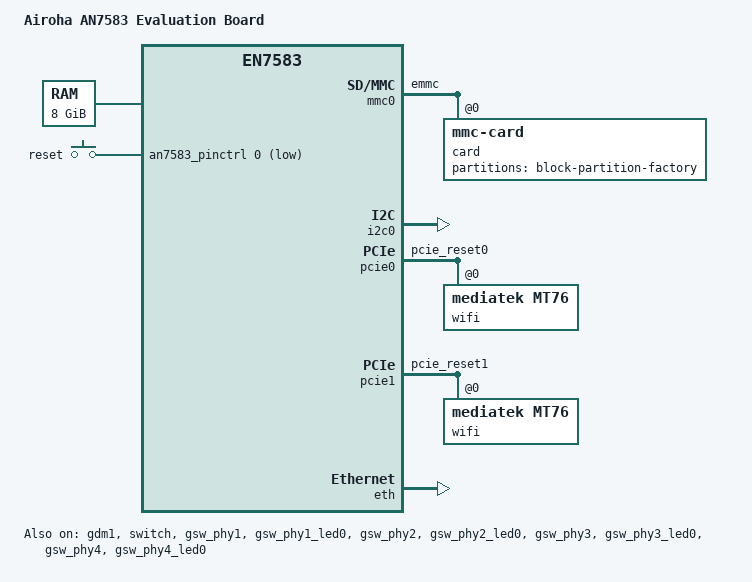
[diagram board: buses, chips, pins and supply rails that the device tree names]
// SPDX-License-Identifier: (GPL-2.0-only OR BSD-2-Clause)
/dts-v1/;

/* Bootloader installs ATF here */
/memreserve/ 0x80000000 0x200000;

#include <dt-bindings/leds/common.h>
#include <dt-bindings/gpio/gpio.h>
#include <dt-bindings/input/input.h>
#include "an7583.dtsi"

/ {
	model = "Airoha AN7583 Evaluation Board";
	compatible = "airoha,an7583-evb", "airoha,an7583", "airoha,en7583";

	aliases {
		serial0 = &uart1;
	};

	chosen {
		bootargs = "console=ttyS0,115200 earlycon";
		stdout-path = "serial0:115200n8";
		linux,usable-memory-range = <0x0 0x80200000 0x0 0x1fe00000>;
	};

	memory@80000000 {
		device_type = "memory";
		reg = <0x0 0x80000000 0x2 0x00000000>;
	};

	gpio-keys-polled {
		compatible = "gpio-keys-polled";
		poll-interval = <100>;

		btn-reset {
			label = "reset";
			linux,code = <BTN_0>;
			gpios = <&an7583_pinctrl 0 GPIO_ACTIVE_LOW>;
		};
	};
};

&an7583_pinctrl {
	gpio-ranges = <&an7583_pinctrl 0 13 47>;

	mdio_pins: mdio-pins {
		mux {
			function = "mdio";
			groups = "mdio";
		};
	};

	pcie0_rst_pins: pcie0-rst-pins {
		conf {
			pins = "pcie_reset0";
			drive-open-drain = <1>;
		};
	};

	pcie1_rst_pins: pcie1-rst-pins {
		conf {
			pins = "pcie_reset1";
			drive-open-drain = <1>;
		};
	};

	gswp1_led0_pins: gswp1-led0-pins {
		mux {
			function = "phy1_led0";
			pins = "gpio1";
		};
	};

	gswp2_led0_pins: gswp2-led0-pins {
		mux {
			function = "phy2_led0";
			pins = "gpio2";
		};
	};

	gswp3_led0_pins: gswp3-led0-pins {
		mux {
			function = "phy3_led0";
			pins = "gpio3";
		};
	};

	gswp4_led0_pins: gswp4-led0-pins {
		mux {
			function = "phy4_led0";
			pins = "gpio4";
		};
	};

	mmc_pins: mmc-pins {
		mux {
			function = "emmc";
			groups = "emmc";
		};
	};
};

&mmc0 {
	pinctrl-names = "default", "state_uhs";
	pinctrl-0 = <&mmc_pins>;
	pinctrl-1 = <&mmc_pins>;
	status = "okay";

	#address-cells = <1>;
	#size-cells = <0>;

	card@0 {
		compatible = "mmc-card";
		reg = <0>;

		block {
			compatible = "block-device";
			partitions {
				block-partition-factory {
					partname = "art";

					nvmem-layout {
						compatible = "fixed-layout";
						#address-cells = <1>;
						#size-cells = <1>;

						eeprom_factory_0: eeprom@0 {
							reg = <0x40000 0x1e00>;
						};

						mac_factory_2c0000: mac@2c0000 {
							reg = <0x2c0000 0x6>;
						};

						pon_mac_factory_2c0006: pon_mac@2c0006 {
							reg = <0x2c0006 0x6>;
						};

						onu_type_factory_2e0000: onu_type@2e0000 {
							reg = <0x2e0000 0x10>;
						};

						board_config_factory_2e0010: board_config@2e0010 {
							reg = <0x2e0010 0x8>;
						};
					};
				};
			};
		};
	};
};

&i2c0 {
	status = "okay";
};

&pcie0 {
	pinctrl-names = "default";
	pinctrl-0 = <&pcie0_rst_pins>;
	status = "okay";

	pcie@0,0 {
		reg = <0x0000 0 0 0 0>;
		wifi@0,0 {
			compatible = "mediatek,mt76";
			reg = <0x0000 0 0 0 0>;
		};
	};
};

&pcie1 {
	pinctrl-names = "default";
	pinctrl-0 = <&pcie1_rst_pins>;
	status = "okay";

	pcie@1,0 {
		reg = <0x0000 0 0 0 0>;
		wifi@1,0 {
			compatible = "mediatek,mt76";
			reg = <0x0000 0 0 0 0>;
		};
	};
};

&i2c0 {
	status = "okay";
};

&eth {
	status = "okay";
	nvmem-cells = <&mac_factory_2c0000>;
	nvmem-cell-names = "mac";
};

&gdm1 {
	status = "okay";
};

&switch {
	pinctrl-names = "default";
	pinctrl-0 = <&mdio_pins>;
	status = "okay";
};

&gsw_phy1 {
	pinctrl-names = "gbe-led";
	pinctrl-0 = <&gswp1_led0_pins>;
	status = "okay";
};

&gsw_phy1_led0 {
	status = "okay";
	active-low;
};

&gsw_phy2 {
	pinctrl-names = "gbe-led";
	pinctrl-0 = <&gswp2_led0_pins>;
	status = "okay";
};

&gsw_phy2_led0 {
	status = "okay";
	active-low;
};

&gsw_phy3 {
	pinctrl-names = "gbe-led";
	pinctrl-0 = <&gswp3_led0_pins>;
	status = "okay";
};

&gsw_phy3_led0 {
	status = "okay";
	active-low;
};

&gsw_phy4 {
	pinctrl-names = "gbe-led";
	pinctrl-0 = <&gswp4_led0_pins>;
	status = "okay";
};

&gsw_phy4_led0 {
	status = "okay";
	active-low;
};
